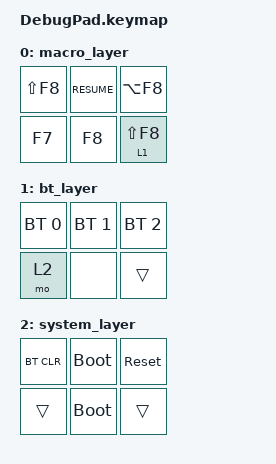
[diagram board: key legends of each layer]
#include <behaviors.dtsi>
#include <dt-bindings/zmk/bt.h>
#include <dt-bindings/zmk/keys.h>

/ {
    macros {
        RESUME: RESUME {
            compatible = "zmk,behavior-macro";
            label = "RESUME";
            #binding-cells = <0>;
            bindings = <&kp LCMD &kp LEFT_ALT &kp R>;
        };
    };

    keymap {
        compatible = "zmk,keymap";

        macro_layer {
            bindings = <
&kp LS(F8)  &RESUME    &kp LA(F8)
    &kp F7   &kp F8  &lt 1 LS(F8)
            >;
        };

        bt_layer {
            bindings = <
&bt BT_SEL 0  &bt BT_SEL 1  &bt BT_SEL 2
       &mo 2         &none        &trans
            >;
        };

        system_layer {
            bindings = <
&bt BT_CLR  &bootloader  &sys_reset
    &trans  &bootloader      &trans
            >;
        };
    };
};
